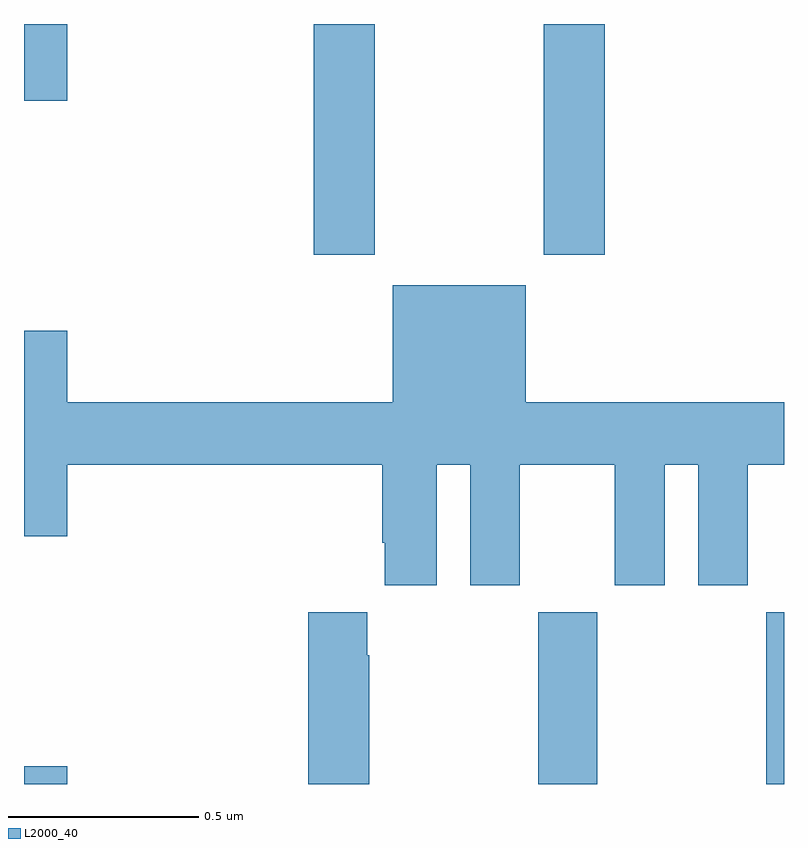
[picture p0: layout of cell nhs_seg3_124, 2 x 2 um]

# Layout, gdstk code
import gdstk
lib = gdstk.Library(unit=1e-6, precision=1e-09)
def R(c, l, rs):  # rectangles x0, y0, x1, y1
    for r in rs: c.add(gdstk.rectangle(r[:2], r[2:], *l))
def P(c, l, *ps):  # polygons
    for p in ps: c.add(gdstk.Polygon(p, *l))
L2000_40 = (2000, 40)

nhs_seg3_124 = lib.new_cell('nhs_seg3_124')
R(nhs_seg3_124, L2000_40, [(112,709.4,112.114,709.447), (113.353,709.4,113.508,709.852), (113.953,709.4,114,709.852), (112.763,710.793,112.923,711.4), (113.368,710.793,113.528,711.4), (112,711.198,112.114,711.4)])
P(nhs_seg3_124, L2000_40, [(113.086,710.24),(113.174,710.24),(113.174,709.923),(113.305,709.923),(113.305,710.24),(113.555,710.24),(113.555,709.923),(113.686,709.923),(113.686,710.24),(113.774,710.24),(113.774,709.923),(113.905,709.923),(113.905,710.24),(114,710.24),(114,710.404),(113.32,710.404),(113.32,710.713),(112.97,710.713),(112.97,710.404),(112.114,710.404),(112.114,710.593),(112,710.593),(112,710.052),(112.114,710.052),(112.114,710.24),(112.943,710.24),(112.943,710.035),(112.949,710.035),(112.949,709.923),(113.086,709.923)],
  [(112.908,709.739),(112.903,709.739),(112.903,709.852),(112.748,709.852),(112.748,709.4),(112.908,709.4)])

lib.write_gds('nhs_seg3_124.gds')
